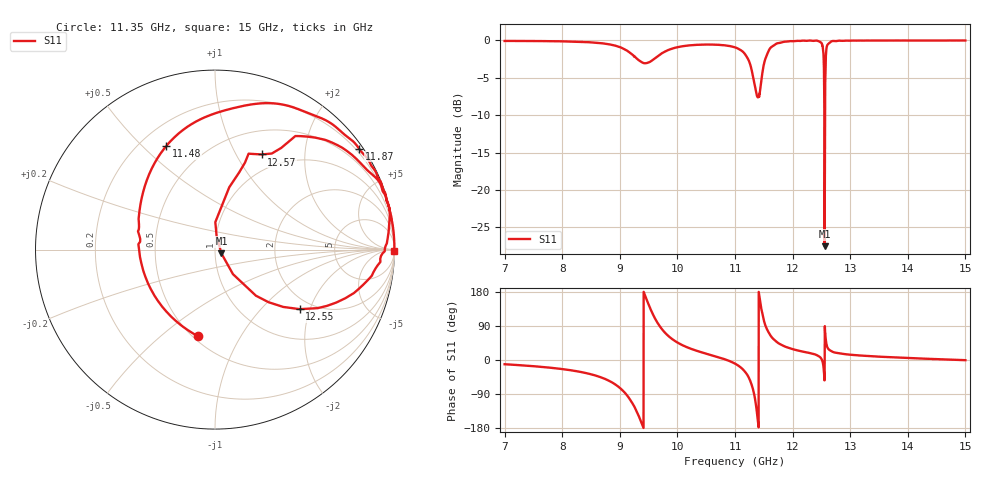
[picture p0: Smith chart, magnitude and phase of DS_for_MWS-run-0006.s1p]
! TOUCHSTONE file generated by CST DESIGN STUDIO
! Date and time: Mon Feb 10 16:57:13 2025
! Project name: C:\Work\MatlabApps\UnitCellType2OptimizationMatlab\CST\unitcell.cst
! Tree item: Tasks\Sweep1\SPara1\S-Parameters
! Header version: 2024
! Port assignment regex: !\s*Touchstone port\s*([0-9]+)\s*=\s*(CST MWS port|CST DES external port|CST DES block port)\s*(.+)\s* \(\"(.*)\"\)(\s*mode\s*([0-9]+))?.*
! Touchstone port assignment:
! Touchstone port 1 = CST DES external port 1 ("")
# GHz S MA R 50
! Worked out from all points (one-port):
!   4001 points, 7 GHz to 15 GHz, reference 50 ohm
!   lowest |S11| = -27.5 dB at 12.56 GHz (marker M1), VSWR 1.09, Z = 53.7 - j2.34 ohm
!   |S11| at or under -10 dB: 12.55223 GHz to 12.56172 GHz (9.484 MHz wide, 0.0755 % of centre)
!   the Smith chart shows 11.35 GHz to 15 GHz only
!   S11 on the Smith chart (normalised r, x): 11.35 GHz: 0.53, -0.67; 11.48 GHz: 0.30, +0.59; 11.87 GHz: 0.11, +3.16; 12.55 GHz: 1.72, -1.71; 12.57 GHz: 0.79, +1.28; 15 GHz: open
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7  0.9922 -11.2
8  0.9866 -23.9
8.634  0.9628 -43.7
9  0.9032 -73.5
9.224  0.8009 -115.5
9.422  0.7047 176.7
9.652  0.782 98.8
10  0.9011 46.1
10.444  0.9385 19.2
11  0.8993 -9.5
11.204  0.7778 -37.1
11.346  0.4918 -101.1
11.416  0.4279 175.9
11.484  0.6382 115.1
11.55  0.7939 82.8
11.65  0.9137 57.9
11.874  0.9802 35.1
12  0.9884 28.6
12.474  0.9791 7.8
12.518  0.9221 -3.2
12.546  0.5771 -35.1
12.556  0.04211 -31.0
12.57  0.5904 63.9
12.602  0.9305 34.0
12.668  0.9828 23.8
13  0.9969 14.0
14  0.9989 5.3
15  0.9995 -0.5
